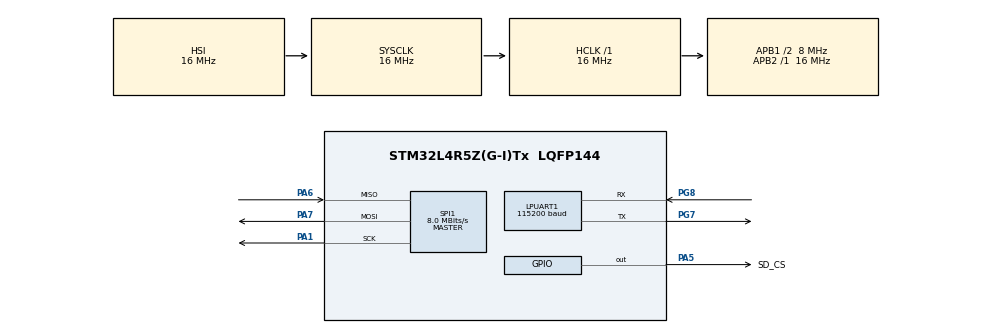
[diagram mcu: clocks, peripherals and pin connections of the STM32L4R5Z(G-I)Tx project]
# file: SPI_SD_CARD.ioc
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FATFS._MAX_SS=4096
FATFS._USE_LFN=1
LPUART1.BaudRate=115200
LPUART1.WordLength=UART_WORDLENGTH_8B
Mcu.Family=STM32L4
Mcu.Name=STM32L4R5Z(G-I)Tx
Mcu.Package=LQFP144
NVIC.PriorityGroup=NVIC_PRIORITYGROUP_4
PA1.Mode=Full_Duplex_Master
PA1.Signal=SPI1_SCK
PA13\ (JTMS/SWDIO).Mode=Serial_Wire
PA13\ (JTMS/SWDIO).Signal=SYS_JTMS-SWDIO
PA14\ (JTCK/SWCLK).Mode=Serial_Wire
PA14\ (JTCK/SWCLK).Signal=SYS_JTCK-SWCLK
PA5.GPIO_Label=SD_CS
PA5.Signal=GPIO_Output
PA6.Mode=Full_Duplex_Master
PA6.Signal=SPI1_MISO
PA7.Mode=Full_Duplex_Master
PA7.Signal=SPI1_MOSI
PG7.Mode=Asynchronous
PG7.Signal=LPUART1_TX
PG8.Mode=Asynchronous
PG8.Signal=LPUART1_RX
PH0-OSC_IN\ (PH0).Mode=HSE-External-Oscillator
PH0-OSC_IN\ (PH0).Signal=RCC_OSC_IN
PH1-OSC_OUT\ (PH1).Mode=HSE-External-Oscillator
PH1-OSC_OUT\ (PH1).Signal=RCC_OSC_OUT
ProjectManager.HeapSize=0x200
ProjectManager.StackSize=0x400
ProjectManager.TargetToolchain=STM32CubeIDE
RCC.48MHZClocksFreq_Value=24000000
RCC.ADCFreq_Value=96000000
RCC.AHBFreq_Value=16000000
RCC.APB1CLKDivider=RCC_HCLK_DIV2
RCC.APB1Freq_Value=8000000
RCC.APB1TimFreq_Value=16000000
RCC.APB2Freq_Value=16000000
RCC.APB2TimFreq_Value=16000000
RCC.CK48CLockSelection=RCC_USBCLKSOURCE_HSI48
RCC.CortexFreq_Value=16000000
RCC.HCLKFreq_Value=16000000
RCC.HSE_VALUE=8000000
RCC.HSI48_VALUE=48000000
RCC.HSI_VALUE=16000000
RCC.LPUART1CLockSelection=RCC_LPUART1CLKSOURCE_HSI
RCC.LSE_VALUE=32768
RCC.MSI_VALUE=4000000
RCC.PLLMUL=RCC_PLL_MUL9
RCC.PLLSAI1N=12
RCC.PLLSourceVirtual=RCC_PLLSOURCE_HSI
RCC.PRESCALERUSB=RCC_USBCLKSOURCE_PLL_DIV1_5
RCC.SYSCLKFreq_VALUE=16000000
RCC.SYSCLKSource=RCC_SYSCLKSOURCE_HSI
RCC.SYSCLKSourceVirtual=RCC_SYSCLKSOURCE_PLLCLK
RCC.USBFreq_Value=48000000
RCC.VCOOutputFreq_Value=128000000
SPI1.CalculateBaudRate=8.0 MBits/s
SPI1.Direction=SPI_DIRECTION_2LINES
SPI1.Mode=SPI_MODE_MASTER
SPI1.VirtualType=VM_MASTER
VP_FATFS_VS_Generic.Mode=User_defined
board=NUCLEO-L4R5ZI

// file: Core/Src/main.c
/* USER CODE BEGIN Header */
/**
  ******************************************************************************
  * @file           : main.c
  * @brief          : Main program body
  ******************************************************************************
  * @attention
  *
  * Copyright (c) 2023 STMicroelectronics.
  * All rights reserved.
  *
  * This software is licensed under terms that can be found in the LICENSE file
  * in the root directory of this software component.
  * If no LICENSE file comes with this software, it is provided AS-IS.
  *
  ******************************************************************************
  */
/* USER CODE END Header */
#include "main.h"
#include "fatfs.h"

/* USER CODE BEGIN Includes */
#include "fatfs_sd.h"
#include "string.h"
#include <stdio.h>
/* USER CODE END Includes */

UART_HandleTypeDef hlpuart1;

SPI_HandleTypeDef hspi1;

void SystemClock_Config(void);
static void MX_GPIO_Init(void);
static void MX_LPUART1_UART_Init(void);
static void MX_SPI1_Init(void);

/* USER CODE BEGIN 0 */

FATFS fs;  // file system
FIL fil; // File
FILINFO fno;
FRESULT fresult;  // result
UINT br, bw;  // File read/write count

char buffer[1024]; //store the data

/**** capacity related *****/
FATFS *pfs;
DWORD fre_clust;
uint32_t total, free_space;

// to send the uart

void send_uart(char *string){
	uint8_t len=strlen(string);
	HAL_UART_Transmit(&hlpuart1,(uint8_t *)string,len,2000); // transmiting in bloking mode

}

// to fined the size of data in buffer

int bufsize(char *buf){
	int i=0;
	while(*buf++ != '\0');
	return i;
}

void bufclear(void){  // clear the buffer

	for(int i=0;i<1024; i++){
		buffer[i]='\0';
	}
}

/* USER CODE END 0 */

int main(void)
{

  /* MCU Configuration--------------------------------------------------------*/

  /* Reset of all peripherals, Initializes the Flash interface and the Systick. */
  HAL_Init();

  /* Configure the system clock */
  SystemClock_Config();

  /* Initialize all configured peripherals */
  MX_GPIO_Init();
  MX_LPUART1_UART_Init();
  MX_SPI1_Init();
  MX_FATFS_Init();
  /* USER CODE BEGIN 2 */
  //Mount sd card

   fresult = f_mount(&fs, "/", 1);
   if (fresult != FR_OK)
 	   send_uart ("ERROR!!! in mounting SD CARD...\r\n");
   else send_uart("SD CARD mounted successfully...\r\n");

   /*************** Card capacity details ********************/

     	/* Check free space */
     	f_getfree("", &fre_clust, &pfs);

     	total = (uint32_t)((pfs->n_fatent - 2) * pfs->csize * 0.5);
     	sprintf (buffer, "SD CARD Total Size: \t%lu\r\n",total);
     	send_uart(buffer);
     	bufclear();
     	free_space = (uint32_t)(fre_clust * pfs->csize * 0.5);
     	sprintf (buffer, "SD CARD Free Space: \t%lu\r\n",free_space);
     	send_uart(buffer);
     	bufclear();

//     	//puts and gets operation
//
//
//     	/* Create file with read write access and open it */
//     	fresult=f_open(&fil,"file1.txt",FA_OPEN_ALWAYS|FA_READ|FA_WRITE);
//
//     	//Writing text
//
//     	fresult=f_puts("This is First File\r\n",&fil);
//
//
//     	//Close file
//
//     	fresult=f_close(&fil);
//     	send_uart("File1.txt is opened and it contains the data as shown below\n");
//
//
//
//     	/* Open file to read */
//           	fresult = f_open(&fil, "file1.txt", FA_READ);
//
//
//           	/* Read string from the file */
//           	f_gets(buffer, f_size(&fil), &fil);
//
//           	send_uart(buffer) ;
//           	//Close file
//
//           	   f_close(&fil);

 //

 //
 //      //operation using f_write and f_read
 //
 //
 //     /* Create file with read write access and open it */
 //
 //     fresult=f_open(&fil,"file2.txt",FA_OPEN_ALWAYS|FA_READ|FA_WRITE);
 //
 //     // Writing text
 //
 //     strcpy(buffer,"This file 2 and it says hello Rahul ");
 //
 //     fresult=f_write(&fil, buffer,bufsize(buffer),&bw);
 //
 //    send_uart("file2 created and written data\n");
 //
 ////    close file
 //
 //    f_close(&fil);
 //
 //// clear the buffer to show that result obtaeiend is from the file
 //
 //    bufclear();
 //
 ////    open secon file to read
 //
 //    fresult=f_open(&fil,"file2.txt",FA_READ);
 //
 //
 ////    Read the data from the file
 //
 //    f_read(&fil, buffer,f_size(&fil),&br);
 //    send_uart(buffer);
 //
 //
 ////    Close file
 //    f_close(&fil);
 //
 //    bufclear();

           	  	/**************** The following operation is using f_write and f_read **************************/

           	  	/* Create second file with read write access and open it */
           	  	fresult = f_open(&fil, "file2.txt", FA_CREATE_ALWAYS | FA_WRITE);

           	  	/* Writing text */
           	  	strcpy (buffer, "This is File2.txt, written using ...f_write... and it says Hello from Priyesh \r\n");

           	  	fresult = f_write(&fil, buffer, bufsize(buffer), &bw);

           	  	send_uart ("File2.txt created and data is written\r\n");

           	  	/* Close file */
           	  	f_close(&fil);

           	  	// clearing buffer to show that result obtained is from the file
 //          	    bufclear();

           	  	/* Open second file to read */
           	  	fresult = f_open(&fil, "file2.txt", FA_READ);

           	  	if (fresult == FR_OK){
           	  		send_uart ("file2.txt is open and the data is shown below\r\n");

           	  	}
           	  /* Read data from the file
           	            	     * Please see the function details for the arguments */
           	   f_read (&fil, buffer, f_size(&fil), &br);

           		send_uart(buffer);
           	    send_uart("\r\n");

           	  	/* Close file */
           	  	f_close(&fil);

           	     bufclear();

 //          	  	/*********************UPDATING an existing file ***************************/
 //
 //          	  	/* Open the file with write access */
 //          	  	fresult = f_open(&fil, "file2.txt", FA_OPEN_EXISTING | FA_READ | FA_WRITE);
 //
 //          	  	/* Move to offset to the end of the file */
 //          	  	fresult = f_lseek(&fil, f_size(&fil));
 //
 //          	  	if (fresult == FR_OK)send_uart ("About to update the file2.txt\n");
 //
 //          	  	/* write the string to the file */
 //          	  	fresult = f_puts("This is updated data and it should be in the end", &fil);
 //
 //          	  	f_close (&fil);
 //
 //          	    bufclear();
 //
 //          	  	/* Open to read the file */
 //          	  	fresult = f_open (&fil, "file2.txt", FA_READ);
 //
 //          	  	/* Read string from the file */
 //          	  	fresult = f_read (&fil, buffer, f_size(&fil), &br);
 //          	  	if (fresult == FR_OK)send_uart ("Below is the data from updated file2.txt\n");
 //          	  	send_uart(buffer);
 //          	  	send_uart("\n\n");
 //
 //          	  	/* Close file */
 //          	  	f_close(&fil);
 //
 //          	    bufclear();
 //
 //
 //          	  	/*************************REMOVING FILES FROM THE DIRECTORY ****************************/
 //
 //          	  	fresult = f_unlink("/file1.txt");
 //          	  	if (fresult == FR_OK) send_uart("file1.txt removed successfully...\n");
 //
 //          	  	fresult = f_unlink("/file2.txt");
 //          	  	if (fresult == FR_OK) send_uart("file2.txt removed successfully...\n");
 //
 //          	  	/* Unmount SDCARD */
 //          	  	fresult = f_mount(NULL, "/", 1);
 //          	  	if (fresult == FR_OK) send_uart ("SD CARD UNMOUNTED successfully...\n");

  /* USER CODE END 2 */

  /* Infinite loop */
  while (1)
  {

  }
}

void SystemClock_Config(void)
{
  RCC_OscInitTypeDef RCC_OscInitStruct = {0};
  RCC_ClkInitTypeDef RCC_ClkInitStruct = {0};

  /** Configure the main internal regulator output voltage
  */
  if (HAL_PWREx_ControlVoltageScaling(PWR_REGULATOR_VOLTAGE_SCALE1) != HAL_OK)
  {
    Error_Handler();
  }

  /** Initializes the RCC Oscillators according to the specified parameters
  * in the RCC_OscInitTypeDef structure.
  */
  RCC_OscInitStruct.OscillatorType = RCC_OSCILLATORTYPE_HSI;
  RCC_OscInitStruct.HSIState = RCC_HSI_ON;
  RCC_OscInitStruct.HSICalibrationValue = RCC_HSICALIBRATION_DEFAULT;
  RCC_OscInitStruct.PLL.PLLState = RCC_PLL_NONE;
  if (HAL_RCC_OscConfig(&RCC_OscInitStruct) != HAL_OK)
  {
    Error_Handler();
  }

  /** Initializes the CPU, AHB and APB buses clocks
  */
  RCC_ClkInitStruct.ClockType = RCC_CLOCKTYPE_HCLK|RCC_CLOCKTYPE_SYSCLK
                              |RCC_CLOCKTYPE_PCLK1|RCC_CLOCKTYPE_PCLK2;
  RCC_ClkInitStruct.SYSCLKSource = RCC_SYSCLKSOURCE_HSI;
  RCC_ClkInitStruct.AHBCLKDivider = RCC_SYSCLK_DIV1;
  RCC_ClkInitStruct.APB1CLKDivider = RCC_HCLK_DIV2;
  RCC_ClkInitStruct.APB2CLKDivider = RCC_HCLK_DIV1;

  if (HAL_RCC_ClockConfig(&RCC_ClkInitStruct, FLASH_LATENCY_0) != HAL_OK)
  {
    Error_Handler();
  }
}

static void MX_LPUART1_UART_Init(void)
{

  hlpuart1.Instance = LPUART1;
  hlpuart1.Init.BaudRate = 115200;
  hlpuart1.Init.WordLength = UART_WORDLENGTH_8B;
  hlpuart1.Init.StopBits = UART_STOPBITS_1;
  hlpuart1.Init.Parity = UART_PARITY_NONE;
  hlpuart1.Init.Mode = UART_MODE_TX_RX;
  hlpuart1.Init.HwFlowCtl = UART_HWCONTROL_NONE;
  hlpuart1.Init.OneBitSampling = UART_ONE_BIT_SAMPLE_DISABLE;
  hlpuart1.Init.ClockPrescaler = UART_PRESCALER_DIV1;
  hlpuart1.AdvancedInit.AdvFeatureInit = UART_ADVFEATURE_NO_INIT;
  hlpuart1.FifoMode = UART_FIFOMODE_DISABLE;
  if (HAL_UART_Init(&hlpuart1) != HAL_OK)
  {
    Error_Handler();
  }
  if (HAL_UARTEx_SetTxFifoThreshold(&hlpuart1, UART_TXFIFO_THRESHOLD_1_8) != HAL_OK)
  {
    Error_Handler();
  }
  if (HAL_UARTEx_SetRxFifoThreshold(&hlpuart1, UART_RXFIFO_THRESHOLD_1_8) != HAL_OK)
  {
    Error_Handler();
  }
  if (HAL_UARTEx_DisableFifoMode(&hlpuart1) != HAL_OK)
  {
    Error_Handler();
  }

}

static void MX_SPI1_Init(void)
{

  /* SPI1 parameter configuration*/
  hspi1.Instance = SPI1;
  hspi1.Init.Mode = SPI_MODE_MASTER;
  hspi1.Init.Direction = SPI_DIRECTION_2LINES;
  hspi1.Init.DataSize = SPI_DATASIZE_4BIT;
  hspi1.Init.CLKPolarity = SPI_POLARITY_LOW;
  hspi1.Init.CLKPhase = SPI_PHASE_1EDGE;
  hspi1.Init.NSS = SPI_NSS_SOFT;
  hspi1.Init.BaudRatePrescaler = SPI_BAUDRATEPRESCALER_2;
  hspi1.Init.FirstBit = SPI_FIRSTBIT_MSB;
  hspi1.Init.TIMode = SPI_TIMODE_DISABLE;
  hspi1.Init.CRCCalculation = SPI_CRCCALCULATION_DISABLE;
  hspi1.Init.CRCPolynomial = 7;
  hspi1.Init.CRCLength = SPI_CRC_LENGTH_DATASIZE;
  hspi1.Init.NSSPMode = SPI_NSS_PULSE_ENABLE;
  if (HAL_SPI_Init(&hspi1) != HAL_OK)
  {
    Error_Handler();
  }

}

static void MX_GPIO_Init(void)
{
  GPIO_InitTypeDef GPIO_InitStruct = {0};

  /* GPIO Ports Clock Enable */
  __HAL_RCC_GPIOH_CLK_ENABLE();
  __HAL_RCC_GPIOA_CLK_ENABLE();
  __HAL_RCC_GPIOG_CLK_ENABLE();
  HAL_PWREx_EnableVddIO2();

  /*Configure GPIO pin Output Level */
  HAL_GPIO_WritePin(SD_CS_GPIO_Port, SD_CS_Pin, GPIO_PIN_RESET);

  /*Configure GPIO pin : SD_CS_Pin */
  GPIO_InitStruct.Pin = SD_CS_Pin;
  GPIO_InitStruct.Mode = GPIO_MODE_OUTPUT_PP;
  GPIO_InitStruct.Pull = GPIO_NOPULL;
  GPIO_InitStruct.Speed = GPIO_SPEED_FREQ_LOW;
  HAL_GPIO_Init(SD_CS_GPIO_Port, &GPIO_InitStruct);

}

void Error_Handler(void)
{
  __disable_irq();
  while (1)
  {
  }
}
